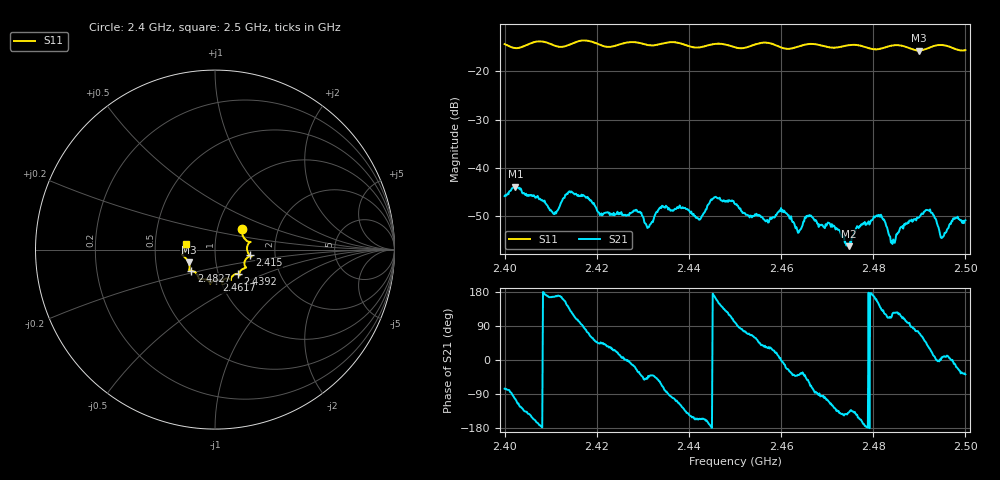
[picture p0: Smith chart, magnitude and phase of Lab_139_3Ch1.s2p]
# Hz S RI R 50
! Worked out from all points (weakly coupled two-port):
!   601 points, 2.4 GHz to 2.5 GHz, reference 50 ohm
!   highest |S21| = -43.86 dB at 2.4023 GHz (marker M1); lowest = -56.2 dB at 2.4747 GHz (marker M2)
!   lowest |S11| = -15.7 dB at 2.4898 GHz (marker M3), VSWR 1.39, Z = 36.8 - j5.4 ohm
!   |S11| at or under -10 dB: start of sweep to end of sweep
!   S12 and S22 are empty: the file has one direction only
!   S11 on the Smith chart (normalised r, x): 2.4 GHz: 1.31, +0.31; 2.415 GHz: 1.48, -0.10; 2.4392 GHz: 1.24, -0.35; 2.4617 GHz: 0.96, -0.34; 2.4827 GHz: 0.75, -0.18; 2.5 GHz: 0.72, +0.05
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2.4e9  0.1515 0.1153  0.00126 -0.00497  0 0  0 0
2.402333e9  0.1547 0.0772  -0.00147 -0.00624  0 0  0 0
2.410667e9  0.1829 0.0268  -0.00326 0.000749  0 0  0 0
2.415e9  0.1933 -0.0319  -0.00249 0.00485  0 0  0 0
2.416667e9  0.2033 -0.0386  -0.000338 0.00529  0 0  0 0
2.431e9  0.1502 -0.1104  0.00156 -0.00182  0 0  0 0
2.433333e9  0.1364 -0.1299  0.00226 -0.0029  0 0  0 0
2.439167e9  0.1283 -0.1357  -0.0027 -0.00278  0 0  0 0
2.442167e9  0.0996 -0.1448  -0.00266 -0.00121  0 0  0 0
2.445333e9  0.0882 -0.1684  -0.0048 0.000742  0 0  0 0
2.45e9  0.0711 -0.1615  -0.000681 0.00418  0 0  0 0
2.461667e9  0.00812 -0.1698  0.0029 -0.00145  0 0  0 0
2.463833e9  -0.019 -0.1794  0.00166 -0.00137  0 0  0 0
2.466667e9  -0.0269 -0.1895  0.000928 -0.00298  0 0  0 0
2.474667e9  -0.0838 -0.1654  -0.00117 -0.00103  0 0  0 0
2.480667e9  -0.1106 -0.1263  -0.00302 0.00108  0 0  0 0
2.482667e9  -0.1318 -0.1175  -0.00138 0.00231  0 0  0 0
2.483333e9  -0.1375 -0.1169  -0.00079 0.00194  0 0  0 0
2.489833e9  -0.147 -0.0714  0.000878 0.00293  0 0  0 0
2.492333e9  -0.1716 -0.0395  0.00327 0.00179  0 0  0 0
2.495e9  -0.1841 -0.0271  0.0019 0.000226  0 0  0 0
2.5e9  -0.1619 0.0315  0.00228 -0.00177  0 0  0 0
